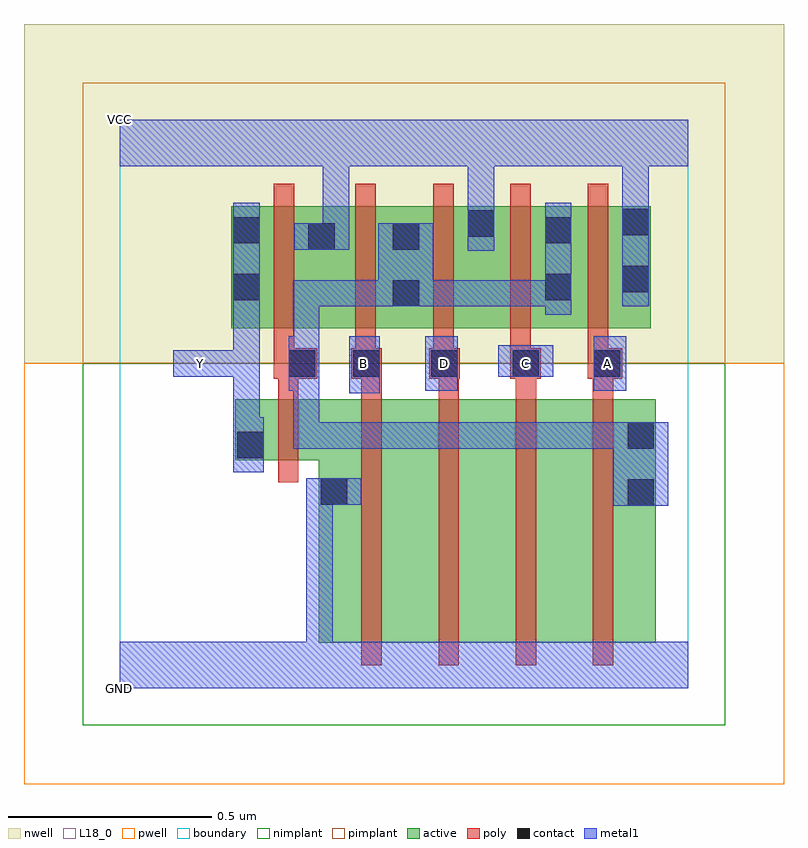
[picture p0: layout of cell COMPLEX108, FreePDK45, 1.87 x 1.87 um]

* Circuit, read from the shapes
.subckt COMPLEX108 A B C D GND VCC Y
M1 GND n1 Y VSUBS nfet w=0.15u l=0.05u
M2 n2 B GND VSUBS nfet w=0.6u l=0.05u
M3 n3 D n2 VSUBS nfet w=0.6u l=0.05u
M4 n4 C n3 VSUBS nfet w=0.6u l=0.05u
M5 n1 A n4 VSUBS nfet w=0.6u l=0.05u
M6 VCC n1 Y n5 pfet w=0.3u l=0.05u
M7 n1 B VCC n5 pfet w=0.3u l=0.05u
M8 VCC D n1 n5 pfet w=0.3u l=0.05u
M9 n1 C VCC n5 pfet w=0.3u l=0.05u
M10 VCC A n1 n5 pfet w=0.3u l=0.05u
.ends

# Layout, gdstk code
import gdstk
lib = gdstk.Library(unit=1e-6, precision=1e-09)
def R(c, l, rs):  # rectangles x0, y0, x1, y1
    for r in rs: c.add(gdstk.rectangle(r[:2], r[2:], *l))
def A(c, l, x, y, w, h, nx, ny, dx, dy):  # array of equal rectangles
    R(c, l, [(x+i*dx, y+j*dy, x+i*dx+w, y+j*dy+h) for i in range(nx) for j in range(ny)])
active = (1, 0)
pwell = (2, 0)
nwell = (3, 0)
nimplant = (4, 0)
pimplant = (5, 0)
poly = (9, 0)
contact = (10, 0)
metal1 = (11, 0)
L18_0 = (18, 0)
boundary = (235, 0)

complex108 = lib.new_cell('COMPLEX108')
R(complex108, active, [(0.49,0.112,0.715,0.712), (0.49,0.112,0.565,0.697), (0.715,0.112,0.905,0.712), (0.905,0.112,1.095,0.712), (1.095,0.112,1.32,0.712), (1.245,0.145,1.32,0.712), (0.285,0.562,0.565,0.712), (0.285,0.562,0.36,0.712), (0.275,0.887,0.535,1.187), (0.275,0.887,0.35,1.165), (0.46,0.887,0.742,1.187), (0.667,0.887,0.742,1.167), (0.667,0.887,0.927,1.187), (0.852,0.887,1.117,1.187), (1.042,0.887,1.307,1.187), (1.042,0.887,1.117,1.167), (1.232,0.887,1.307,1.187), (0.46,1.002,0.535,1.187), (0.852,1.002,0.927,1.187)])
R(complex108, pwell, [(-0.235,-0.235,1.635,0.8)])
R(complex108, nwell, [(-0.235,0.8,1.635,1.635)])
R(complex108, nimplant, [(-0.09,-0.09,1.49,0.8)])
R(complex108, pimplant, [(-0.09,0.8,1.49,1.49)])
A(complex108, poly, 0.595, 0.057, 0.05, 0.71, 4, 1, 0.19, 0)
A(complex108, poly, 0.595, 0.717, 0.05, 0.095, 4, 1, 0.19, 0)
A(complex108, poly, 0.772, 0.787, 0.05, 0.095, 3, 1, 0.19, 0)
A(complex108, poly, 0.772, 0.832, 0.05, 0.41, 3, 1, 0.19, 0)
R(complex108, poly, [(0.39,0.507,0.44,0.767), (0.39,0.717,0.44,0.812), (0.38,0.762,0.487,0.837), (0.57,0.762,0.645,0.837), (0.762,0.762,0.837,0.837), (0.962,0.762,1.037,0.837), (1.152,0.762,1.237,0.837), (0.38,0.787,0.43,0.882), (0.58,0.787,0.63,0.882), (0.38,0.832,0.43,1.242), (0.58,0.832,0.63,1.242)])
A(complex108, contact, 0.767, 0.767, 0.065, 0.065, 3, 1, 0.2, 0)
R(complex108, contact, [(1.25,0.45,1.315,0.515), (0.495,0.452,0.56,0.517), (0.29,0.567,0.355,0.632), (1.25,0.59,1.315,0.655), (0.417,0.767,0.482,0.832), (0.575,0.767,0.64,0.832), (0.672,0.94,0.737,1.005), (0.28,0.955,0.345,1.02), (1.047,0.955,1.112,1.02), (1.237,0.975,1.302,1.04), (0.465,1.08,0.53,1.145), (0.672,1.08,0.737,1.145), (0.28,1.095,0.345,1.16), (1.047,1.095,1.112,1.16), (0.857,1.112,0.922,1.177), (1.237,1.115,1.302,1.18)])
R(complex108, metal1, [(0,0,1.4,0.115), (0.46,0.05,0.525,0.517), (1.215,0.45,1.35,0.655), (0.46,0.452,0.525,0.517), (0.46,0.452,0.525,0.517), (0.46,0.452,0.595,0.517), (0.28,0.532,0.355,0.667), (0.427,0.59,0.492,0.655), (0.427,0.59,0.635,0.655), (0.427,0.59,0.492,0.805), (0.57,0.59,0.635,0.655), (0.57,0.59,0.785,0.655), (0.72,0.59,0.785,0.655), (0.72,0.59,0.785,0.655), (0.72,0.59,0.785,0.655), (0.72,0.59,0.937,0.655), (0.872,0.59,0.937,0.655), (0.872,0.59,0.937,0.655), (0.872,0.59,0.937,0.655), (0.872,0.59,1.075,0.655), (1.01,0.59,1.075,0.655), (1.01,0.59,1.28,0.655), (1.215,0.59,1.28,0.655), (1.215,0.59,1.28,0.655), (0.28,0.602,0.345,0.832), (0.565,0.727,0.64,0.867), (0.417,0.732,0.482,0.867), (0.752,0.732,0.832,0.867), (1.167,0.732,1.247,0.867), (0.417,0.74,0.492,0.805), (0.427,0.74,0.492,0.805), (0.427,0.74,0.492,1.005), (0.132,0.767,0.345,0.832), (0.28,0.767,0.345,0.985), (0.932,0.767,1.067,0.845), (0.28,0.92,0.345,1.195), (1.047,0.92,1.112,1.195), (0.427,0.94,0.492,1.005), (0.427,0.94,0.62,1.005), (0.555,0.94,0.62,1.005), (0.555,0.94,0.702,1.005), (0.637,0.94,0.772,1.145), (0.707,0.94,0.772,1.005), (0.707,0.94,0.772,1.005), (0.707,0.94,0.937,1.005), (0.872,0.94,0.937,1.005), (0.872,0.94,0.937,1.005), (0.872,0.94,0.937,1.005), (0.872,0.94,1.112,1.005), (1.237,0.94,1.302,1.215), (0.857,1.077,0.922,1.212), (0.43,1.08,0.565,1.145), (0.5,1.08,0.565,1.35), (0.857,1.147,0.922,1.212), (0.857,1.147,0.922,1.212), (0.857,1.147,0.922,1.35), (1.237,1.15,1.302,1.35), (0,1.285,1.4,1.4), (0.5,1.285,0.565,1.35), (0.5,1.285,0.565,1.35), (1.237,1.285,1.302,1.35), (1.237,1.285,1.302,1.35)])
A(complex108, L18_0, 0.567, 0.767, 0.065, 0.065, 4, 1, 0.2, 0)
R(complex108, L18_0, [(0,0,1.4,0.115), (0.46,0.05,0.525,0.517), (0.46,0.452,0.525,0.517), (0.46,0.452,0.525,0.517), (0.46,0.452,0.595,0.517), (0.28,0.532,0.355,0.667), (0.28,0.602,0.345,0.832), (0.565,0.727,0.64,0.867), (0.752,0.732,0.832,0.867), (1.167,0.732,1.247,0.867), (0.132,0.767,0.345,0.832), (0.167,0.767,0.232,0.832), (0.28,0.767,0.345,0.985), (0.932,0.767,1.067,0.845), (0.28,0.92,0.345,1.195), (1.237,0.94,1.302,1.215), (0.857,1.077,0.922,1.212), (0.43,1.08,0.565,1.145), (0.5,1.08,0.565,1.35), (0.857,1.147,0.922,1.212), (0.857,1.147,0.922,1.212), (0.857,1.147,0.922,1.35), (1.237,1.15,1.302,1.35), (0,1.285,1.4,1.4), (0.5,1.285,0.565,1.35), (0.5,1.285,0.565,1.35), (1.237,1.285,1.302,1.35), (1.237,1.285,1.302,1.35)])
R(complex108, boundary, [(0,0,1.4,1.4)])
complex108.add(gdstk.Label('A', (1.2,0.8), layer=11, texttype=0))
complex108.add(gdstk.Label('B', (0.6,0.8), layer=11, texttype=0))
complex108.add(gdstk.Label('C', (1,0.8), layer=11, texttype=0))
complex108.add(gdstk.Label('D', (0.8,0.8), layer=11, texttype=0))
complex108.add(gdstk.Label('Y', (0.2,0.8), layer=11, texttype=0))
complex108.add(gdstk.Label('VCC', (0,1.4), layer=11, texttype=0))
complex108.add(gdstk.Label('GND', (0,0), layer=11, texttype=0))

lib.write_gds('COMPLEX108.gds')
